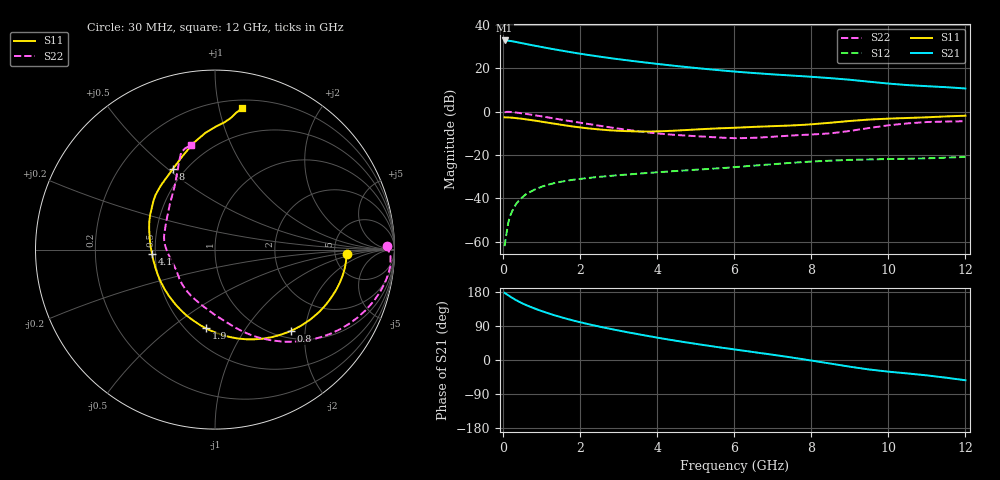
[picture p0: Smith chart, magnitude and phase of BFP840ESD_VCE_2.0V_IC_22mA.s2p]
! Infineon Technologies  Discrete & RF Semiconductors
! BFP840ESD
! VCE =  2.0 V,  IC =  22 mA
! Common Emitter S-Parameters:  May 2012
# GHz  S  MA  R  50
!  f  S11  S21  S12  S22
! GHz  MAG  ANG  MAG  ANG  MAG  ANG  MAG  ANG
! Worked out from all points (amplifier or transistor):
!   93 points, 30 MHz to 12 GHz, reference 50 ohm
!   highest |S21| = 32.7 dB at 30 MHz (marker M1)
!   |S21| within 3 dB of that: start of sweep to 989.5 MHz
!   unconditionally stable (mu >= 1): 4.814 GHz to 7.982 GHz
!   at 1.1 GHz: K = 0.43, MSG = 31.6 dB, |S12| = -34.0 dB
!   at 4.2 GHz: K = 0.96, MSG = 24.6 dB, |S12| = -27.7 dB
!   at 12 GHz: K = 0.73, MSG = 15.7 dB, |S12| = -20.9 dB
!   S11 on the Smith chart (normalised r, x): 30 MHz: 6.45, -0.64; 800 MHz: 1.15, -1.69; 1.9 GHz: 0.62, -0.68; 4.1 GHz: 0.48, -0.03; 8 GHz: 0.43, +0.52; 12 GHz: 0.27, +1.18
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0.03  0.7339 -1.8  43.08 177.1  0.0008 61.1  0.9576 1.3
0.13  0.7303 -8.4  42.48 170.5  0.0029 84.7  0.9814 -5.4
0.23  0.7195 -14.8  41.22 163.9  0.0052 74.2  0.9662 -10.6
0.38  0.6971 -23.7  38.85 155.2  0.0085 74.9  0.9333 -17.3
0.6  0.6589 -36.2  35.52 144.5  0.0129 69.6  0.8776 -25.8
0.8  0.6206 -46.8  32.81 136.3  0.0159 64.5  0.8243 -32.7
1  0.5822 -56.9  30.37 128.9  0.0187 60.1  0.7716 -38.9
1.3  0.5283 -71.0  27.13 118.9  0.0224 54.4  0.6959 -47.2
1.6  0.4809 -84.1  24.39 110.0  0.0251 50.0  0.628 -54.5
1.9  0.4413 -96.7  22.02 102.0  0.0276 46.6  0.5692 -61.0
2.1  0.4189 -104.6  20.65 97.1  0.029 45.0  0.5342 -65.1
2.5  0.3864 -119.9  18.28 88.0  0.0315 42.1  0.4705 -72.6
2.9  0.3644 -134.8  16.35 79.6  0.0339 40.3  0.4156 -80.1
3.5  0.3484 -156.0  14.03 68.1  0.0374 37.8  0.3519 -92.8
4.1  0.3516 -176.1  12.15 57.2  0.0407 35.3  0.3076 -107.6
5.1  0.3904 159.9  9.816 41.0  0.0465 32.2  0.268 -132.0
6.1  0.4267 144.9  8.171 26.5  0.0534 29.5  0.2448 -155.0
8  0.5081 117.3  6.285 -1.5  0.0707 17.6  0.2959 162.8
8.5  0.5525 109.0  5.845 -9.5  0.0741 13.5  0.3148 149.3
9.5  0.6534 94.6  4.846 -25.0  0.079 4.9  0.4178 122.6
10.5  0.7105 85.8  4.05 -35.5  0.082 -1.8  0.5337 111.9
12  0.801 79.1  3.39 -53.5  0.0905 -9.4  0.5972 103.1
